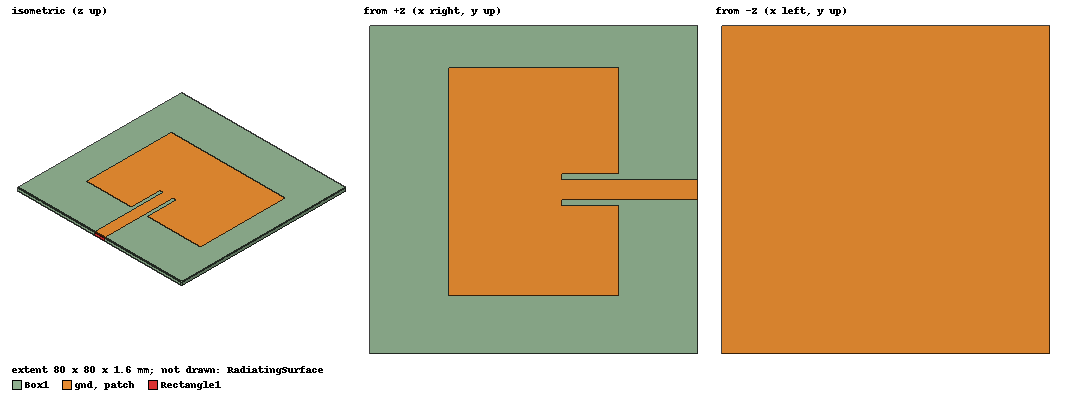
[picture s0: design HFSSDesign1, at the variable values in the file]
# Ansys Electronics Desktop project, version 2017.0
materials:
  vacuum: permittivity=1
  Rogers RT/duroid 5880 (tm): permittivity=2.2 dielectric_loss_tangent=0.0009
  copper: permeability=0.999991 conductivity=58000000

design HFSSDesign1 (HFSS, DrivenModal, model units mm)
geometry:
  Box1 [Rogers RT/duroid 5880 (tm)] = box(corner=(-40mm, -40mm, 0mm), size=(80mm, 80mm, 1.6mm))
  gnd = rectangle(corner=(-40mm, -40mm, 0mm), x_size=80mm, y_size=80mm)
  patch = rectangle(corner=((-41.3/2) mm, (-51.55/2) mm, 1.6mm), x_size=41.3mm, y_size=55.55mm)
  insetfeed = rectangle(corner=((80/2) mm, (-4.93/2) mm, 1.6mm), x_size=(-40+6.98) mm, y_size=4.93mm)
  cutout = rectangle(corner=(6.8mm, 2.465mm, 1.6mm), x_size=13.85mm, y_size=1.5mm)
  cutout1 = rectangle(corner=(6.8mm, -2.465mm, 1.6mm), x_size=13.85mm, y_size=-1.5mm)
  patch.unite(insetfeed)
  patch.subtract(cutout, cutout1)
  Rectangle1 = rectangle(corner=(40mm, -2.465mm, 1.6mm), y_size=4.93mm, z_size=-1.6mm)
  RadiatingSurface [vacuum] = region(absolute_offset=43.478261mm on all sides)
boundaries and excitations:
  Open1: Radiation Objects=RadiatingSurface
  FiniteCond1: Finite Conductivity Objects=gnd UseMaterial Material=copper IsInternal
  FiniteCond2: Finite Conductivity Objects=patch UseMaterial Material=copper IsInternal
  PerfE1: Perfect E Objects=Rectangle1
  1: Lumped Port Objects=Rectangle1 Modes{Mode1{IntLine{middle of Rectangle1.edge(z opposite corner) -> middle of Rectangle1.edge(z at corner)} CharImp=Zpi RenormImp=50ohm}} Impedance=50ohm
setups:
  Setup1: HfssDriven Frequency=2.3GHz MaxDeltaS=0.02 MaximumPasses=15 MinimumPasses=1 MinimumConvergedPasses=1 PercentRefinement=30 BasisOrder=1 PortAccuracy=2 RayDensityPerWavelength=4 MaxNumberOfBounces=5
    sweep Sweep: 2GHz to 2.5GHz, 451 points; Type=Interpolating InterpTolerance=0.5 InterpMaxSolns=250 InterpUsePortImped=false PassivityErrorTolerance=0.0001
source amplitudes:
  1:1: 1W 0deg
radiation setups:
  Infinite Sphere1: Infinite Sphere Theta=-180deg..180deg step 10deg Phi=0deg..90deg step 90deg
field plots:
  Mag_E1: E Field over patch.face(at (0, 2, 1.6)) on Setup1 : LastAdaptive at Freq=2.3GHz Phase=0deg
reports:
  XY Plot 1: dB(S(1,1)) vs Freq on Setup1 : Sweep; markers m2 at 2.3766667GHz
  Radiation Pattern 1: dB(GainTotal) vs Theta on Setup1 : LastAdaptive, Infinite Sphere1 [Phi=all Freq=2.3GHz]; markers m1 at 0deg
